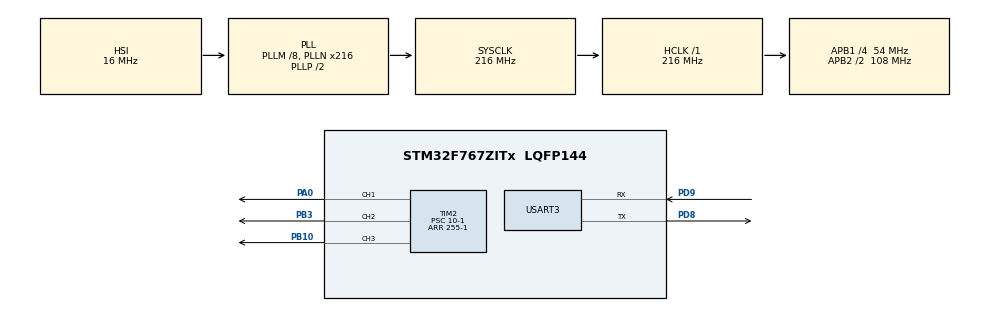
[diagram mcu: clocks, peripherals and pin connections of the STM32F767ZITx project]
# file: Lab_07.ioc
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Mcu.Family=STM32F7
Mcu.Name=STM32F767ZITx
Mcu.Package=LQFP144
NVIC.PriorityGroup=NVIC_PRIORITYGROUP_4
NVIC.USART3_IRQn=true\:0\:0\:false\:false\:true\:true\:true\:true
PA0/WKUP.GPIO_Speed=GPIO_SPEED_FREQ_VERY_HIGH
PA0/WKUP.Signal=S_TIM2_CH1_ETR
PB10.GPIO_Speed=GPIO_SPEED_FREQ_VERY_HIGH
PB10.Signal=S_TIM2_CH3
PB3.GPIO_Speed=GPIO_SPEED_FREQ_VERY_HIGH
PB3.Signal=S_TIM2_CH2
PD8.Mode=Asynchronous
PD8.Signal=USART3_TX
PD9.Mode=Asynchronous
PD9.Signal=USART3_RX
ProjectManager.HeapSize=0x200
ProjectManager.StackSize=0x400
ProjectManager.TargetToolchain=STM32CubeIDE
RCC.AHBFreq_Value=216000000
RCC.APB1CLKDivider=RCC_HCLK_DIV4
RCC.APB1Freq_Value=54000000
RCC.APB1TimFreq_Value=108000000
RCC.APB2CLKDivider=RCC_HCLK_DIV2
RCC.APB2Freq_Value=108000000
RCC.APB2TimFreq_Value=216000000
RCC.CortexFreq_Value=216000000
RCC.HCLKFreq_Value=216000000
RCC.HSE_VALUE=25000000
RCC.HSI_VALUE=16000000
RCC.LSE_VALUE=32768
RCC.PLLM=8
RCC.PLLN=216
RCC.SYSCLKFreq_VALUE=216000000
RCC.SYSCLKSource=RCC_SYSCLKSOURCE_PLLCLK
RCC.USBFreq_Value=216000000
RCC.VCOOutputFreq_Value=432000000
SH.S_TIM2_CH1_ETR.0=TIM2_CH1,PWM Generation1 CH1
SH.S_TIM2_CH2.0=TIM2_CH2,PWM Generation2 CH2
SH.S_TIM2_CH3.0=TIM2_CH3,PWM Generation3 CH3
TIM2.Channel-PWM\ Generation1\ CH1=TIM_CHANNEL_1
TIM2.Channel-PWM\ Generation2\ CH2=TIM_CHANNEL_2
TIM2.Channel-PWM\ Generation3\ CH3=TIM_CHANNEL_3
TIM2.OCFastMode_PWM-PWM\ Generation1\ CH1=TIM_OCFAST_DISABLE
TIM2.OCFastMode_PWM-PWM\ Generation2\ CH2=TIM_OCFAST_DISABLE
TIM2.OCFastMode_PWM-PWM\ Generation3\ CH3=TIM_OCFAST_DISABLE
TIM2.Period=255-1
TIM2.Prescaler=10-1
TIM2.Pulse-PWM\ Generation1\ CH1=255/4-1
TIM2.Pulse-PWM\ Generation2\ CH2=255/4-1
TIM2.Pulse-PWM\ Generation3\ CH3=255/4-1
USART3.VirtualMode-Asynchronous=VM_ASYNC
VP_TIM2_VS_ClockSourceINT.Mode=Internal
board=custom

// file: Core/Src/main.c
/* USER CODE BEGIN Header */
/**
  ******************************************************************************
  * @file           : main.c
  * @brief          : Main program body
  ******************************************************************************
  * @attention
  *
  * Copyright (c) 2023 STMicroelectronics.
  * All rights reserved.
  *
  * This software is licensed under terms that can be found in the LICENSE file
  * in the root directory of this software component.
  * If no LICENSE file comes with this software, it is provided AS-IS.
  *
  ******************************************************************************
  */
/* USER CODE END Header */
#include "main.h"
#include "tim.h"
#include "usart.h"
#include "gpio.h"

/* USER CODE BEGIN PV */
char ch;
float dutyCycleR = 0;
float dutyCycleG = 0;
float dutyCycleB = 0;
float dutyCycle = 1;
uint8_t pwm;
/* USER CODE END PV */

void SystemClock_Config(void);

int main(void)
{

  /* MCU Configuration--------------------------------------------------------*/

  /* Reset of all peripherals, Initializes the Flash interface and the Systick. */
  HAL_Init();

  /* Configure the system clock */
  SystemClock_Config();

  /* Initialize all configured peripherals */
  MX_GPIO_Init();
  MX_TIM2_Init();
  MX_USART3_UART_Init();
  /* USER CODE BEGIN 2 */
  HAL_TIM_PWM_Start(&htim2, TIM_CHANNEL_1);
  HAL_TIM_PWM_Start(&htim2, TIM_CHANNEL_2);
  HAL_TIM_PWM_Start(&htim2, TIM_CHANNEL_3);
  HAL_UART_Receive_IT(&huart3, (uint8_t*) &ch, 1);
  /* USER CODE END 2 */

  /* Infinite loop */
  while (1)
  {

    /* USER CODE BEGIN 3 */
	  htim2.Instance -> CCR1 = (255-1)*dutyCycleB;
	  htim2.Instance -> CCR2 = (255-1)*dutyCycleG;
	  htim2.Instance -> CCR3 = (255-1)*dutyCycleR;
//	  dutyCycleB += 0.2;
//	  dutyCycleG += 0.2;
//	  dutyCycleR += 0.2;
	  if (dutyCycleB > 1){
		  dutyCycleB = 0;
	  }
	  if (dutyCycleR > 1){
		  dutyCycleR = 0;
	  }
	  if (dutyCycleG > 1){
		  dutyCycleG = 0;
	  }
	  HAL_Delay(300);

//	  ข้อ 2
//	  htim2.Instance -> CCR3 = (10000-1)*dutyCycle;
//	  HAL_TIM_PWM_Start(&htim2, TIM_CHANNEL_3);
//	  HAL_Delay(100);
//	  HAL_TIM_PWM_Stop(&htim2, TIM_CHANNEL_3);
//	  pwm = (GPIOB -> IDR & GPIO_PIN_10) >>10;

  }
  /* USER CODE END 3 */
}

void SystemClock_Config(void)
{
  RCC_OscInitTypeDef RCC_OscInitStruct = {0};
  RCC_ClkInitTypeDef RCC_ClkInitStruct = {0};

  /** Configure the main internal regulator output voltage
  */
  __HAL_RCC_PWR_CLK_ENABLE();
  __HAL_PWR_VOLTAGESCALING_CONFIG(PWR_REGULATOR_VOLTAGE_SCALE1);

  /** Initializes the RCC Oscillators according to the specified parameters
  * in the RCC_OscInitTypeDef structure.
  */
  RCC_OscInitStruct.OscillatorType = RCC_OSCILLATORTYPE_HSI;
  RCC_OscInitStruct.HSIState = RCC_HSI_ON;
  RCC_OscInitStruct.HSICalibrationValue = RCC_HSICALIBRATION_DEFAULT;
  RCC_OscInitStruct.PLL.PLLState = RCC_PLL_ON;
  RCC_OscInitStruct.PLL.PLLSource = RCC_PLLSOURCE_HSI;
  RCC_OscInitStruct.PLL.PLLM = 8;
  RCC_OscInitStruct.PLL.PLLN = 216;
  RCC_OscInitStruct.PLL.PLLP = RCC_PLLP_DIV2;
  RCC_OscInitStruct.PLL.PLLQ = 2;
  RCC_OscInitStruct.PLL.PLLR = 2;
  if (HAL_RCC_OscConfig(&RCC_OscInitStruct) != HAL_OK)
  {
    Error_Handler();
  }

  /** Activate the Over-Drive mode
  */
  if (HAL_PWREx_EnableOverDrive() != HAL_OK)
  {
    Error_Handler();
  }

  /** Initializes the CPU, AHB and APB buses clocks
  */
  RCC_ClkInitStruct.ClockType = RCC_CLOCKTYPE_HCLK|RCC_CLOCKTYPE_SYSCLK
                              |RCC_CLOCKTYPE_PCLK1|RCC_CLOCKTYPE_PCLK2;
  RCC_ClkInitStruct.SYSCLKSource = RCC_SYSCLKSOURCE_PLLCLK;
  RCC_ClkInitStruct.AHBCLKDivider = RCC_SYSCLK_DIV1;
  RCC_ClkInitStruct.APB1CLKDivider = RCC_HCLK_DIV4;
  RCC_ClkInitStruct.APB2CLKDivider = RCC_HCLK_DIV2;

  if (HAL_RCC_ClockConfig(&RCC_ClkInitStruct, FLASH_LATENCY_7) != HAL_OK)
  {
    Error_Handler();
  }
}

/* USER CODE BEGIN 4 */
void HAL_UART_RxCpltCallback(UART_HandleTypeDef *huart)
{
	if(huart==&huart3){
		HAL_UART_Receive_IT(&huart3,(uint8_t*)&ch,1);
		if(ch=='r'){
			dutyCycleR += 0.2;
		}
		if(ch=='g'){
			dutyCycleG += 0.2;
		}
		if(ch=='b'){
			dutyCycleB += 0.2;
		}
	}
}
/* USER CODE END 4 */

void Error_Handler(void)
{
  __disable_irq();
  while (1)
  {
  }
}
